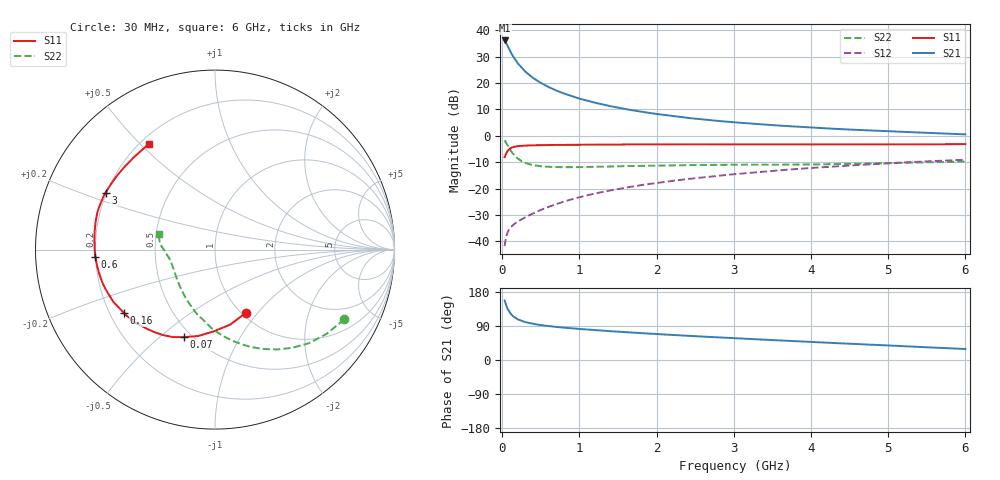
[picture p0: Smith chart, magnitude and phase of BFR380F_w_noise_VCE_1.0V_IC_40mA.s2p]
! Infineon Technologies  Discrete & RF Semiconductors
! BFR380F
! VCE =  1.0 V,  IC =  40 mA
! Common Emitter S-Parameters:  Nov 2015
# GHz  S  MA  R  50
!  f  S11  S21  S12  S22
! GHz  MAG  ANG  MAG  ANG  MAG  ANG  MAG  ANG
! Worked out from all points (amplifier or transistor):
!   206 points, 30 MHz to 6 GHz, reference 50 ohm
!   highest |S21| = 36.1 dB at 30 MHz (marker M1)
!   |S21| within 3 dB of that: start of sweep to 84.14 MHz
!   unconditionally stable (mu >= 1): 735.4 MHz to end of sweep
!   at 200 MHz: K = 0.61, MSG = 30.0 dB, |S12| = -32.5 dB
!   at 1.56 GHz: K = 1.07, MAG = 13.5 dB, |S12| = -19.9 dB
!   at 6 GHz: K = 1.01, MAG = 4.2 dB, |S12| = -9.1 dB
!   lowest NFmin = 1.37 dB at 900 MHz
!   S11 on the Smith chart (normalised r, x): 30 MHz: 1.05, -0.87; 70 MHz: 0.45, -0.61; 160 MHz: 0.26, -0.30; 600 MHz: 0.20, -0.03; 3 GHz: 0.20, +0.24; 6 GHz: 0.23, +0.53
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0.03  0.3921 -63.9  63.73 157.1  0.0081 73.6  0.8185 -28.4
0.04  0.4265 -78.6  60.42 150.6  0.0102 69.1  0.7795 -37.0
0.05  0.4572 -91.4  56.96 144.3  0.0121 64.8  0.7389 -44.9
0.07  0.517 -109.4  49.68 134.6  0.0149 59.0  0.6539 -58.3
0.09  0.5576 -121.4  43.3 127.5  0.017 55.0  0.5814 -69.3
0.11  0.5812 -130.4  38.08 121.9  0.0186 52.4  0.5215 -78.4
0.13  0.6031 -137.2  33.7 117.4  0.0199 51.4  0.4742 -86.2
0.15  0.6148 -143.0  30.15 113.8  0.021 51.0  0.4361 -92.8
0.16  0.6177 -145.0  28.81 112.7  0.0215 51.1  0.4214 -95.1
0.2  0.6362 -152.6  23.59 107.3  0.0236 51.3  0.3706 -106.1
0.26  0.6468 -159.5  18.74 102.5  0.0266 53.6  0.3253 -117.8
0.3  0.6533 -163.1  16.31 99.9  0.0286 54.9  0.3056 -124.4
0.45  0.6623 -171.5  11.06 93.6  0.0366 60.2  0.2701 -140.9
0.6  0.6682 -176.6  8.346 89.5  0.045 63.8  0.2581 -150.8
0.8  0.6712 178.8  6.287 85.3  0.0566 66.7  0.2536 -159.1
1.04  0.6751 174.4  4.864 81.3  0.0708 68.5  0.255 -165.1
2.02  0.6874 162.0  2.56 68.3  0.129 68.9  0.2725 -174.7
3  0.6875 152.5  1.795 57.7  0.1865 66.0  0.2821 -178.2
3.1  0.6866 151.5  1.752 56.8  0.1925 65.5  0.2823 -178.4
4.1  0.6832 141.4  1.404 46.6  0.2507 60.8  0.2866 179.5
5.1  0.6846 131.9  1.199 37.4  0.3059 55.5  0.3062 174.2
6  0.6945 121.9  1.061 29.0  0.3505 49.7  0.3247 164.2
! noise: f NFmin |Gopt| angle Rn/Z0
0.45  1.41  0.36  -176  0.08
0.9  1.37  0.39  -176  0.07
1.8  1.57  0.44  -164  0.08
1.9  1.66  0.45  -165  0.08
2.4  1.71  0.46  -156  0.11
3.5  2.31  0.51  -144  0.17
